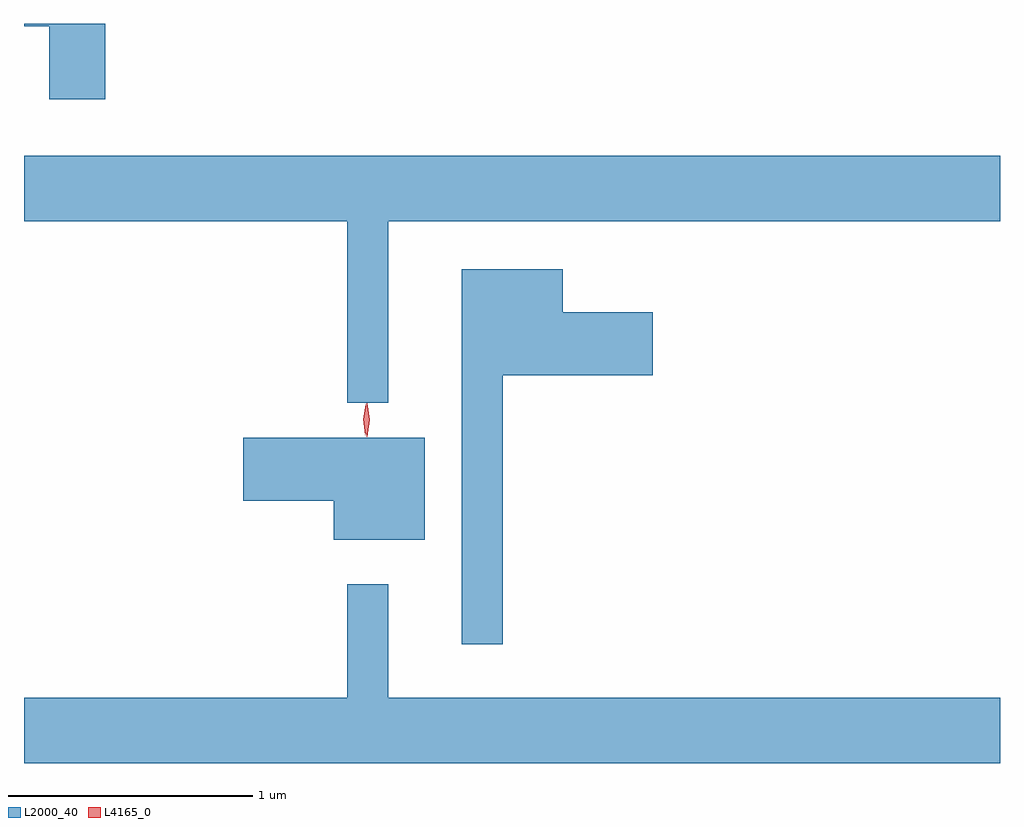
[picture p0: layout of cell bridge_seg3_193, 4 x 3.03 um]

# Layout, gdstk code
import gdstk
lib = gdstk.Library(unit=1e-6, precision=1e-09)
def P(c, l, *ps):  # polygons
    for p in ps: c.add(gdstk.Polygon(p, *l))
L2000_40 = (2000, 40)
L4165_0 = (4165, 0)

bridge_seg3_193 = lib.new_cell('bridge_seg3_193')
P(bridge_seg3_193, L2000_40, [(788.969,1182.325),(788.637,1182.325),(788.637,1182.316),(788.741,1182.316),(788.741,1182.016),(788.969,1182.016)],
  [(790.129,1181.516),(792.637,1181.516),(792.637,1181.784),(788.637,1181.784),(788.637,1181.516),(789.961,1181.516),(789.961,1180.773),(790.129,1180.773)],
  [(790.599,1180.886),(791.214,1180.886),(791.214,1181.144),(790.844,1181.144),(790.844,1181.319),(790.431,1181.319),(790.431,1179.783),(790.599,1179.783)],
  [(790.279,1180.629),(789.536,1180.629),(789.536,1180.371),(789.906,1180.371),(789.906,1180.211),(790.279,1180.211)],
  [(792.637,1179.564),(790.129,1179.564),(790.129,1180.028),(789.961,1180.028),(789.961,1179.564),(788.637,1179.564),(788.637,1179.296),(792.637,1179.296)])
P(bridge_seg3_193, L4165_0, [(790.042,1180.634),(790.033,1180.702),(790.042,1180.77),(790.043,1180.77),(790.043,1180.77),(790.053,1180.702),(790.043,1180.634),(790.043,1180.634)],
  [(790.036,1180.64),(790.036,1180.641),(790.027,1180.704),(790.037,1180.766),(790.038,1180.767),(790.038,1180.766),(790.047,1180.704),(790.036,1180.641)])

lib.write_gds('bridge_seg3_193.gds')
